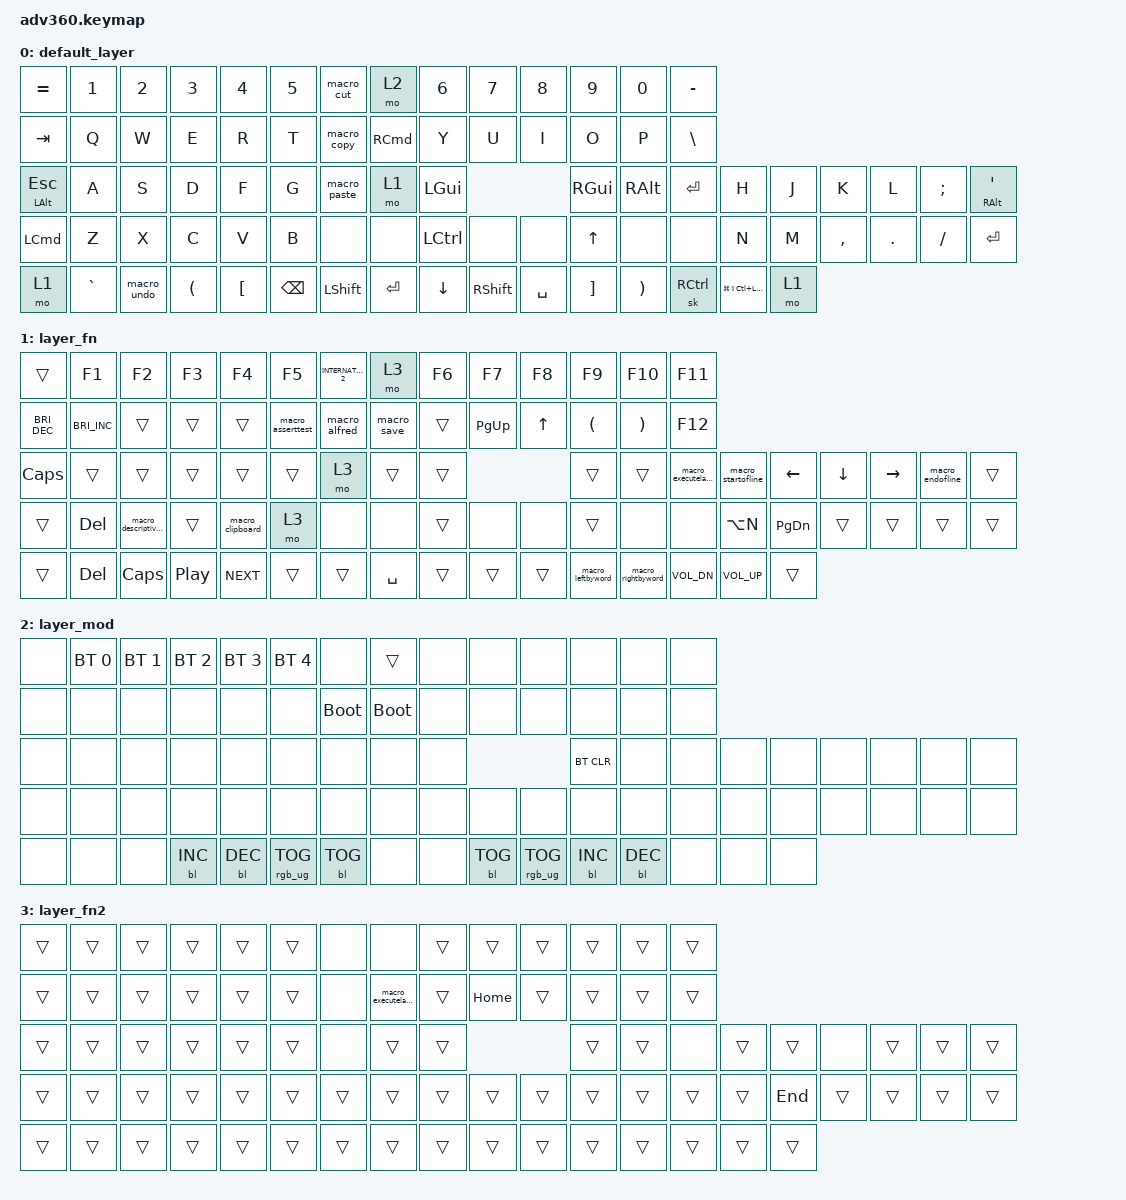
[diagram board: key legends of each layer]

/*
 * Copyright (c) 2020 The ZMK Contributors
 *
 * SPDX-License-Identifier: MIT
 */


/* THIS FILE WAS GENERATED!
 *
 * This file was generated automatically. You may or may not want to
 * edit it directly.
 */

#include <behaviors.dtsi>
#include <dt-bindings/zmk/keys.h>
#include <dt-bindings/zmk/bt.h>
#include <dt-bindings/zmk/backlight.h>
#include <dt-bindings/zmk/rgb.h>

/ {
  behaviors {
    #include "macros.dtsi"

    hm: homerow_mods {
        compatible = "zmk,behavior-hold-tap";
        label = "HOMEROW_MODS";
        #binding-cells = <2>;
        tapping-term-ms = <200>;
        quick_tap_ms = <175>;
        flavor = "tap-preferred";
        bindings = <&kp>, <&kp>;
    };
  };

    keymap {
        compatible = "zmk,keymap";


        default_layer {
            bindings = <
    &kp EQUAL     &kp N1       &kp N2                &kp N3    &kp N4    &kp N5                &macro_cut     &mo 2     &kp N6      &kp N7     &kp N8    &kp N9                 &kp N0  &kp MINUS
      &kp TAB      &kp Q        &kp W                 &kp E     &kp R     &kp T               &macro_copy  &kp RCMD      &kp Y       &kp U      &kp I     &kp O                  &kp P   &kp BSLH
 &mt LALT ESC      &kp A        &kp S                 &kp D     &kp F     &kp G              &macro_paste     &mo 1   &kp LGUI                         &kp RGUI               &kp RALT    &kp RET                 &kp H   &kp J      &kp K    &kp L  &kp SEMICOLON  &mt RALT SINGLE_QUOTE
     &kp LCMD      &kp Z        &kp X                 &kp C     &kp V     &kp B                     &none     &none  &kp LCTRL       &none      &none    &kp UP                  &none      &none                 &kp N   &kp M  &kp COMMA  &kp DOT       &kp FSLH             &kp RETURN
        &mo 1  &kp GRAVE  &macro_undo  &kp LEFT_PARENTHESIS  &kp LBKT  &kp BSPC            &kp LEFT_SHIFT   &kp RET   &kp DOWN  &kp RSHIFT  &kp SPACE  &kp RBKT  &kp RIGHT_PARENTHESIS  &sk RCTRL  &kp LG(LS(LC(LALT)))   &mo 1
            >;
        };

        layer_fn {
            bindings = <
               &trans                &kp F1                 &kp F2            &kp F3            &kp F4             &kp F5            &kp INTERNATIONAL_2        &mo 3  &kp F6     &kp F7  &kp F8                &kp F9             &kp F10                &kp F11
 &kp C_BRIGHTNESS_DEC  &kp C_BRIGHTNESS_INC                 &trans            &trans            &trans  &macro_asserttest                  &macro_alfred  &macro_save  &trans  &kp PG_UP  &kp UP  &kp LEFT_PARENTHESIS            &kp RPAR                &kp F12
             &kp CAPS                &trans                 &trans            &trans            &trans             &trans                          &mo 3       &trans  &trans                                   &trans              &trans  &macro_executelastcmd  &macro_startofline   &kp LEFT  &kp DOWN  &kp RIGHT  &macro_endofline  &trans
               &trans               &kp DEL  &macro_descriptivelog            &trans  &macro_clipboard              &mo 3                          &none        &none  &trans      &none   &none                &trans               &none                  &none           &kp LA(N)  &kp PG_DN    &trans     &trans            &trans  &trans
               &trans            &kp DELETE               &kp CAPS  &kp C_PLAY_PAUSE        &kp C_NEXT             &trans                         &trans    &kp SPACE  &trans     &trans  &trans     &macro_leftbyword  &macro_rightbyword           &kp C_VOL_DN        &kp C_VOL_UP     &trans
            >;
        };

        layer_mod {
            bindings = <
  &none  &bt BT_SEL 0  &bt BT_SEL 1  &bt BT_SEL 2  &bt BT_SEL 3     &bt BT_SEL 4                  &none       &trans   &none       &none            &none       &none       &none   &none
  &none         &none         &none         &none         &none            &none            &bootloader  &bootloader   &none       &none            &none       &none       &none   &none
  &none         &none         &none         &none         &none            &none                  &none        &none   &none                               &bt BT_CLR       &none   &none   &none   &none   &none   &none   &none   &none
  &none         &none         &none         &none         &none            &none                  &none        &none   &none       &none            &none       &none       &none   &none   &none   &none   &none   &none   &none   &none
  &none         &none         &none    &bl BL_INC    &bl BL_DEC  &rgb_ug RGB_TOG             &bl BL_TOG        &none   &none  &bl BL_TOG  &rgb_ug RGB_TOG  &bl BL_INC  &bl BL_DEC   &none   &none   &none
            >;
        };

        layer_fn2 {
            bindings = <
 &trans  &trans  &trans  &trans  &trans  &trans             &none                  &none  &trans    &trans  &trans  &trans  &trans  &trans
 &trans  &trans  &trans  &trans  &trans  &trans             &none  &macro_executelastcmd  &trans  &kp HOME  &trans  &trans  &trans  &trans
 &trans  &trans  &trans  &trans  &trans  &trans             &none                 &trans  &trans                    &trans  &trans   &none  &trans   &trans   &none  &trans  &trans  &trans
 &trans  &trans  &trans  &trans  &trans  &trans            &trans                 &trans  &trans    &trans  &trans  &trans  &trans  &trans  &trans  &kp END  &trans  &trans  &trans  &trans
 &trans  &trans  &trans  &trans  &trans  &trans            &trans                 &trans  &trans    &trans  &trans  &trans  &trans  &trans  &trans   &trans
            >;
        };

    };
};
